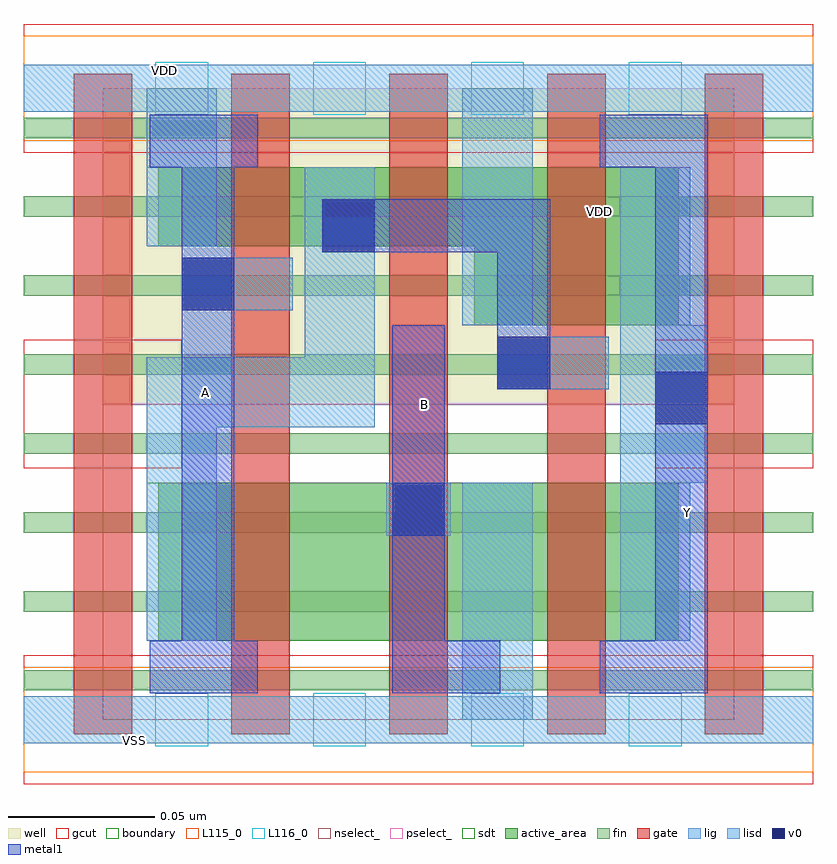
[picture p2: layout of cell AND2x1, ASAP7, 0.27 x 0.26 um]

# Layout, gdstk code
import gdstk
lib = gdstk.Library(unit=1e-6, precision=2.5e-10)
def R(c, l, rs):  # rectangles x0, y0, x1, y1
    for r in rs: c.add(gdstk.rectangle(r[:2], r[2:], *l))
def A(c, l, x, y, w, h, nx, ny, dx, dy):  # array of equal rectangles
    R(c, l, [(x+i*dx, y+j*dy, x+i*dx+w, y+j*dy+h) for i in range(nx) for j in range(ny)])
def P(c, l, *ps):  # polygons
    for p in ps: c.add(gdstk.Polygon(p, *l))
well = (1, 0)
fin = (2, 0)
gate = (7, 0)
gcut = (10, 0)
active_area = (11, 0)
nselect_ = (12, 0)
pselect_ = (13, 0)
lig = (16, 0)
lisd = (17, 0)
v0 = (18, 0)
metal1 = (19, 0)
sdt = (88, 0)
boundary = (100, 0)
L115_0 = (115, 0)
L116_0 = (116, 0)

and2x1 = lib.new_cell('AND2x1')
R(and2x1, well, [(0,0.108,0.216,0.216)])
A(and2x1, fin, -0.027, 0.01, 0.27, 0.007, 1, 8, 0, 0.027)
A(and2x1, gate, -0.01, -0.005, 0.02, 0.226, 5, 1, 0.054, 0)
R(and2x1, gcut, [(-0.027,-0.022,0.243,0.022), (-0.027,0.086,0.027,0.13), (0.189,0.086,0.243,0.13), (-0.027,0.194,0.243,0.238)])
R(and2x1, active_area, [(0.019,0.027,0.197,0.081)])
P(and2x1, active_area, [(0.197,0.189),(0.019,0.189),(0.019,0.162),(0.127,0.162),(0.127,0.135),(0.197,0.135)])
R(and2x1, nselect_, [(0,0,0.216,0.108)])
R(and2x1, pselect_, [(0,0.108,0.216,0.216)])
R(and2x1, lig, [(-0.027,-0.008,0.243,0.008), (0.097,0.063,0.119,0.081), (0.135,0.113,0.173,0.131), (0.027,0.14,0.065,0.158), (-0.027,0.208,0.243,0.224)])
R(and2x1, lisd, [(0.123,0,0.147,0.081), (0.177,0.027,0.201,0.189), (0.177,0.081,0.207,0.135), (0.123,0.135,0.147,0.216), (0.015,0.162,0.039,0.216)])
P(and2x1, lisd, [(0.093,0.189),(0.069,0.189),(0.069,0.124),(0.015,0.124),(0.015,0.027),(0.039,0.027),(0.039,0.1),(0.093,0.1)])
R(and2x1, v0, [(0.099,0.063,0.117,0.081), (0.189,0.101,0.207,0.119), (0.135,0.113,0.153,0.131), (0.027,0.14,0.045,0.158), (0.075,0.16,0.093,0.178)])
R(and2x1, metal1, [(0.016,0.009,0.053,0.027), (0.027,0.009,0.045,0.207), (0.099,0.009,0.136,0.027), (0.099,0.009,0.117,0.135), (0.17,0.009,0.207,0.027), (0.189,0.009,0.207,0.207), (0.135,0.113,0.153,0.178), (0.075,0.16,0.153,0.178), (0.016,0.189,0.053,0.207), (0.17,0.189,0.207,0.207)])
R(and2x1, sdt, [(0.015,0.027,0.039,0.081), (0.123,0.027,0.147,0.081), (0.177,0.027,0.201,0.081), (0.123,0.135,0.147,0.189), (0.177,0.135,0.201,0.189), (0.015,0.162,0.039,0.189), (0.069,0.162,0.093,0.189)])
R(and2x1, boundary, [(0,0,0.216,0.216)])
R(and2x1, L115_0, [(-0.027,-0.018,0.243,0.018), (-0.027,0.198,0.243,0.234)])
A(and2x1, L116_0, 0.018, -0.009, 0.018, 0.018, 4, 2, 0.054, 0.216)
and2x1.add(gdstk.Label('A', (0.035,0.112), layer=19, texttype=251))
and2x1.add(gdstk.Label('B', (0.11,0.108), layer=19, texttype=251))
and2x1.add(gdstk.Label('Y', (0.2,0.071), layer=19, texttype=251))
and2x1.add(gdstk.Label('VDD', (0.17,0.174), layer=1, texttype=251))
and2x1.add(gdstk.Label('VSS', (0.274,0.175), layer=3, texttype=251))
and2x1.add(gdstk.Label('VSS', (0.011,-0.007), layer=115, texttype=251))
and2x1.add(gdstk.Label('VDD', (0.021,0.222), layer=115, texttype=251))

lib.write_gds('AND2x1.gds')
